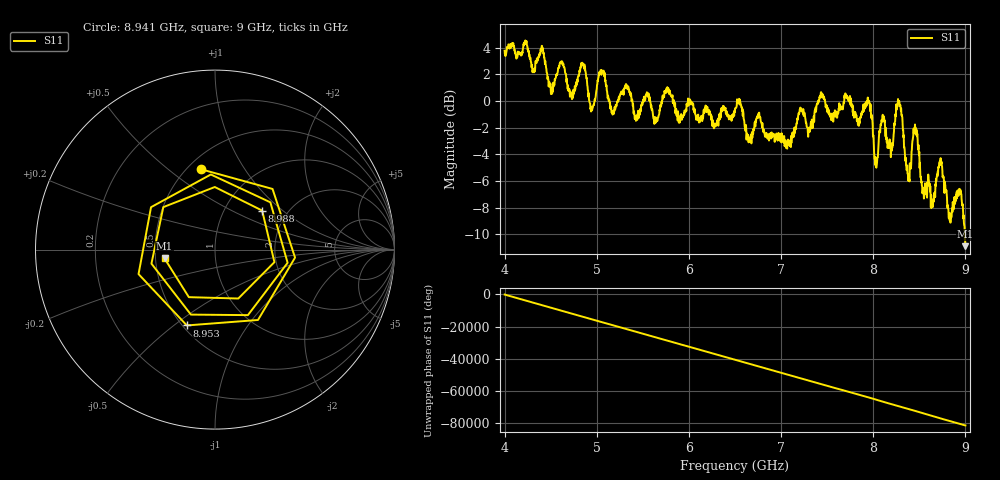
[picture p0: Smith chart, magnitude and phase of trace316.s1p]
! Created with skrf 1.8.0 (http://scikit-rf.org).
# Hz S RI R 50.0
!freq ReS11 ImS11
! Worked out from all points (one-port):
!   1601 points, 4 GHz to 9 GHz, reference 50 ohm
!   lowest |S11| = -10.9 dB at 9 GHz (marker M1), VSWR 1.80, Z = 27.9 - j2.98 ohm
!   |S11| at or under -10 dB: 8.992777 GHz to end of sweep
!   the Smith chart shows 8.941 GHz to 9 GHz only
!   S11 on the Smith chart (normalised r, x): 8.941 GHz: 0.59, +0.66; 8.953 GHz: 0.53, -0.56; 8.988 GHz: 1.50, +0.74; 9 GHz: 0.56, -0.06
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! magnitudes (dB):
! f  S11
! 4 GHz  3.8
! 4.406 GHz  4.1
! 4.503 GHz  0.5
! 4.625 GHz  3.0
! 4.731 GHz  0.1
! 4.853 GHz  2.8
! 4.944 GHz  -0.7
! 5.05 GHz  2.0
! 5.166 GHz  -0.8
! 5.25 GHz  0.4
! 5.875 GHz  -0.9
! 6.5 GHz  -0.6
! 7.125 GHz  -2.3
! 7.434 GHz  0.7
! 7.75 GHz  0.3
! 7.95 GHz  -0.1
! 8.031 GHz  -4.9
! 8.281 GHz  0.0
! 8.375 GHz  -5.5
! 8.456 GHz  -2.1
! 8.559 GHz  -6.7
! 8.647 GHz  -7.9
! 8.725 GHz  -4.8
! 8.828 GHz  -8.9
! 8.941 GHz  -6.9
! 8.953 GHz  -6.9
! 8.988 GHz  -9.3
! 9 GHz  -10.9
